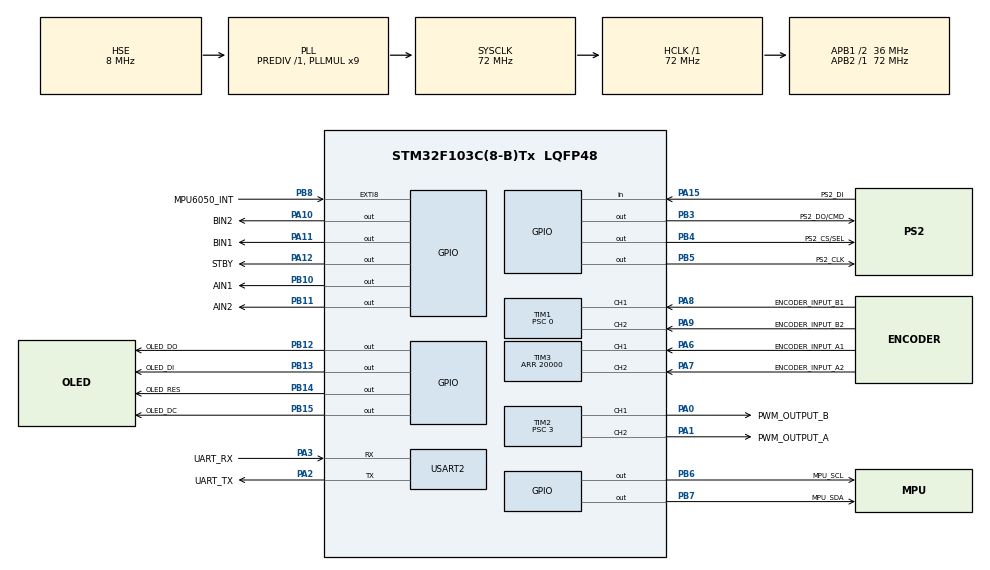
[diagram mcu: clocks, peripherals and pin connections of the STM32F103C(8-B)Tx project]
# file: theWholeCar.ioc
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Mcu.Family=STM32F1
Mcu.Name=STM32F103C(8-B)Tx
Mcu.Package=LQFP48
NVIC.EXTI9_5_IRQn=true\:0\:0\:false\:false\:true\:true\:true\:true
NVIC.PriorityGroup=NVIC_PRIORITYGROUP_4
NVIC.TIM1_UP_IRQn=true\:0\:0\:false\:false\:true\:true\:true\:true
NVIC.TIM3_IRQn=true\:0\:0\:false\:false\:true\:true\:true\:true
NVIC.TIM4_IRQn=true\:1\:0\:true\:false\:true\:true\:true\:true
NVIC.USART2_IRQn=true\:3\:0\:true\:false\:true\:true\:true\:true
PA0-WKUP.GPIO_Label=PWM_OUTPUT_B
PA0-WKUP.Signal=S_TIM2_CH1_ETR
PA1.GPIO_Label=PWM_OUTPUT_A
PA1.Signal=S_TIM2_CH2
PA10.GPIO_Label=BIN2
PA10.Signal=GPIO_Output
PA11.GPIO_Label=BIN1
PA11.Signal=GPIO_Output
PA12.GPIO_Label=STBY
PA12.Signal=GPIO_Output
PA13.Mode=Serial_Wire
PA13.Signal=SYS_JTMS-SWDIO
PA14.Mode=Serial_Wire
PA14.Signal=SYS_JTCK-SWCLK
PA15.GPIO_Label=PS2_DI
PA15.GPIO_PuPd=GPIO_PULLUP
PA15.Signal=GPIO_Input
PA2.GPIO_Label=UART_TX
PA2.Mode=Asynchronous
PA2.Signal=USART2_TX
PA3.GPIO_Label=UART_RX
PA3.Mode=Asynchronous
PA3.Signal=USART2_RX
PA6.GPIO_Label=ENCODER_INPUT_A1
PA6.Signal=S_TIM3_CH1
PA7.GPIO_Label=ENCODER_INPUT_A2
PA7.Signal=S_TIM3_CH2
PA8.GPIO_Label=ENCODER_INPUT_B1
PA8.Signal=S_TIM1_CH1
PA9.GPIO_Label=ENCODER_INPUT_B2
PA9.Signal=S_TIM1_CH2
PB10.GPIO_Label=AIN1
PB10.Signal=GPIO_Output
PB11.GPIO_Label=AIN2
PB11.Signal=GPIO_Output
PB12.GPIO_Label=OLED_DO
PB12.GPIO_Speed=GPIO_SPEED_FREQ_HIGH
PB12.Signal=GPIO_Output
PB13.GPIO_Label=OLED_DI
PB13.GPIO_Speed=GPIO_SPEED_FREQ_HIGH
PB13.Signal=GPIO_Output
PB14.GPIO_Label=OLED_RES
PB14.GPIO_Speed=GPIO_SPEED_FREQ_HIGH
PB14.Signal=GPIO_Output
PB15.GPIO_Label=OLED_DC
PB15.GPIO_Speed=GPIO_SPEED_FREQ_HIGH
PB15.Signal=GPIO_Output
PB3.GPIO_Label=PS2_DO/CMD
PB3.GPIO_PuPd=GPIO_PULLUP
PB3.GPIO_Speed=GPIO_SPEED_FREQ_HIGH
PB3.Signal=GPIO_Output
PB4.GPIO_Label=PS2_CS/SEL
PB4.GPIO_PuPd=GPIO_PULLUP
PB4.GPIO_Speed=GPIO_SPEED_FREQ_HIGH
PB4.Signal=GPIO_Output
PB5.GPIO_Label=PS2_CLK
PB5.GPIO_PuPd=GPIO_PULLUP
PB5.GPIO_Speed=GPIO_SPEED_FREQ_HIGH
PB5.Signal=GPIO_Output
PB6.GPIO_Label=MPU_SCL
PB6.GPIO_ModeDefaultOutputPP=GPIO_MODE_OUTPUT_OD
PB6.GPIO_PuPd=GPIO_PULLUP
PB6.GPIO_Speed=GPIO_SPEED_FREQ_HIGH
PB6.Signal=GPIO_Output
PB7.GPIO_Label=MPU_SDA
PB7.GPIO_ModeDefaultOutputPP=GPIO_MODE_OUTPUT_OD
PB7.GPIO_PuPd=GPIO_PULLUP
PB7.GPIO_Speed=GPIO_SPEED_FREQ_HIGH
PB7.Signal=GPIO_Output
PB8.GPIO_Label=MPU6050_INT
PB8.GPIO_ModeDefaultEXTI=GPIO_MODE_IT_FALLING
PB8.Signal=GPXTI8
PC14-OSC32_IN.Mode=LSE-External-Oscillator
PC14-OSC32_IN.Signal=RCC_OSC32_IN
PC15-OSC32_OUT.Mode=LSE-External-Oscillator
PC15-OSC32_OUT.Signal=RCC_OSC32_OUT
PD0-OSC_IN.Mode=HSE-External-Oscillator
PD0-OSC_IN.Signal=RCC_OSC_IN
PD1-OSC_OUT.Mode=HSE-External-Oscillator
PD1-OSC_OUT.Signal=RCC_OSC_OUT
ProjectManager.HeapSize=0x200
ProjectManager.StackSize=0x400
ProjectManager.TargetToolchain=MDK-ARM V5
RCC.AHBFreq_Value=72000000
RCC.APB1CLKDivider=RCC_HCLK_DIV2
RCC.APB1Freq_Value=36000000
RCC.APB1TimFreq_Value=72000000
RCC.APB2Freq_Value=72000000
RCC.APB2TimFreq_Value=72000000
RCC.HCLKFreq_Value=72000000
RCC.PLLMUL=RCC_PLL_MUL9
RCC.PLLSourceVirtual=RCC_PLLSOURCE_HSE
RCC.SYSCLKFreq_VALUE=72000000
RCC.SYSCLKSource=RCC_SYSCLKSOURCE_PLLCLK
RCC.USBFreq_Value=72000000
SH.S_TIM1_CH1.0=TIM1_CH1,Encoder_Interface
SH.S_TIM1_CH2.0=TIM1_CH2,Encoder_Interface
SH.S_TIM2_CH1_ETR.0=TIM2_CH1,PWM Generation1 CH1
SH.S_TIM2_CH2.0=TIM2_CH2,PWM Generation2 CH2
SH.S_TIM3_CH1.0=TIM3_CH1,Encoder_Interface
SH.S_TIM3_CH2.0=TIM3_CH2,Encoder_Interface
TIM1.EncoderMode=TIM_ENCODERMODE_TI12
TIM1.Period=20000
TIM1.Prescaler=0
TIM2.Channel-PWM\ Generation1\ CH1=TIM_CHANNEL_1
TIM2.Channel-PWM\ Generation2\ CH2=TIM_CHANNEL_2
TIM2.Period=999
TIM2.Prescaler=3
TIM3.Period=20000
TIM4.Period=10000
TIM4.Prescaler=71
USART2.VirtualMode=VM_ASYNC
VP_TIM4_VS_ClockSourceINT.Mode=Internal
board=custom

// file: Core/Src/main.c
/* USER CODE BEGIN Header */
/**
  ******************************************************************************
  * @file           : main.c
  * @brief          : Main program body
  ******************************************************************************
  * @attention
  *
  * Copyright (c) 2023 STMicroelectronics.
  * All rights reserved.
  *
  * This software is licensed under terms that can be found in the LICENSE file
  * in the root directory of this software component.
  * If no LICENSE file comes with this software, it is provided AS-IS.
  *
  ******************************************************************************
  */
/* USER CODE END Header */
#include "main.h"
#include "tim.h"
#include "usart.h"
#include "gpio.h"

/* USER CODE BEGIN Includes */
#include "oled.h"
#include "stdio.h"
#include "math.h"
#include "mpu6050.h"
#include "inv_mpu.h"
#include "motor.h"
#include "string.h"
/* USER CODE END Includes */

/* USER CODE BEGIN PD */
#define RXBUFFERSIZE  256     //最大接收字节数

/* USER CODE END PD */

/* USER CODE BEGIN PV */
char RxBuffer[RXBUFFERSIZE];   //接收数据
uint8_t aRxBuffer;			//接收中断缓冲
uint8_t Uart1_Rx_Cnt = 0;		//接收缓冲计数

float pitch,roll,yaw; 		    //欧拉角
short aacx,aacy,aacz;			//加速度传感器原始数据
short gyrox,gyroy,gyroz;		//陀螺仪原始数据
float temp;					    //温度

float_t Vertical_Kp, Vertical_Kd;//直立环p,d参数
double_t Velocity_Kp, Velocity_Ki;//速度环p,i参数

int16_t ENC_CNTA, ENC_CNTB;
int16_t ENC_CNTA_Last, ENC_CNTB_Last;
int16_t errorA, errorB;

int8_t usart_flag = 0;			//usart中使用的标
/* USER CODE END PV */

void SystemClock_Config(void);
/* USER CODE BEGIN PFP */
int Vertical(float Med,float Angle,float gyro_X);
int Velocity(int Target,int encoder_left,int encoder_right);
/* USER CODE END PFP */

int main(void)
{
  /* USER CODE BEGIN 1 */

	uint8_t flag;
	flag = 0;
	int16_t PWM_out, Velocity_out, Vertical_out;
	Vertical_Kp = 105 * 0.6;	// 	105 * 0.6
	Vertical_Kd = 0.4 * 0.6;		//0.4 * 0.6
	Velocity_Kp = 5500/100000.0;    //    5500/100000.0
	Velocity_Ki = Velocity_Kp / 200;
	ENC_CNTA_Last = ENC_CNTB_Last = 0;
	usart_flag = 0;
  /* USER CODE END 1 */

  /* MCU Configuration--------------------------------------------------------*/

  /* Reset of all peripherals, Initializes the Flash interface and the Systick. */
  HAL_Init();

  /* Configure the system clock */
  SystemClock_Config();

  /* Initialize all configured peripherals */
  MX_GPIO_Init();
  MX_TIM1_Init();
  MX_TIM2_Init();
  MX_TIM3_Init();
  MX_TIM4_Init();
  MX_USART2_UART_Init();
  /* USER CODE BEGIN 2 */
  OLED_Init();
  MPU_Init();			//MPU6050初始化
  mpu_dmp_init();		//dmp初始化
  MOTOR_Init();
  MOTOR_Start();
  HAL_UART_Receive_IT(&huart2, (uint8_t *)&aRxBuffer, 1);
  /* USER CODE END 2 */

  /* Infinite loop */
  while (1)
  {

    /* USER CODE BEGIN 3 */

	/*mpu6050读数*/
	while(mpu_dmp_get_data(&pitch, &roll, &yaw));	//必须要用while等待，才能读取成功
        MPU_Get_Accelerometer(&aacx,&aacy, &aacz);		//得到加速度传感器数据
        MPU_Get_Gyroscope(&gyrox, &gyroy, &gyroz);		//得到陀螺仪数据
//        temp=MPU_Get_Temperature();						//得到温度信息

	  /*显示动画*/
//	  if(fabs(pitch) > 10 && flag != 0) {
//		  flag = 0;
//		  OLED_Clear();
//		  OLED_ShowCHinese(30, 3, 0);
//		  OLED_ShowCHinese(30+16, 3, 1);
//		  OLED_ShowCHinese(30+32, 3, 2);
//		  OLED_ShowCHinese(30+48, 3, 3);
//		  OLED_ShowCHinese(30+64, 3, 4);
//	  }else if (fabs(pitch) < 10 && flag != 1) {
//		  flag = 1;
//		  OLED_Clear();
//		  OLED_ShowCHinese(40, 3, 6);
//		  OLED_ShowCHinese(40+16, 3, 7);
//		  OLED_ShowCHinese(40+32, 3, 8);
//	  }

	Velocity_out=Velocity(0, errorA, errorB);	//速度环
	PWM_out = Vertical(Velocity_out + 0, pitch, gyroy);// 直立环
	if (fabs(PWM_out) > 1000) PWM_out = 1000 * (PWM_out > 0 ? 1 : -1);
	if (PWM_out < 0) {
		MOTOR_ControlA(1, -PWM_out * 1.25);
		MOTOR_ControlB(1, -PWM_out);
	}else {
		MOTOR_ControlA(0, PWM_out * 1.25);
		MOTOR_ControlB(0, PWM_out);
	}

	OLED_ShowSighedNum(8, 0, (int32_t) errorA, 5, 16);
	OLED_ShowSighedNum(69, 0, (int32_t) errorB, 5, 16);
	OLED_ShowSighedNum(8, 2, (int32_t) Vertical_Kp, 5, 16);
	OLED_ShowSighedNum(69, 2, (int32_t) (Vertical_Kd * 10), 5, 16);
	OLED_ShowSighedNum(8, 4, (int32_t) (Velocity_Kp * 100000), 5, 16);
	OLED_ShowSighedNum(69, 4, (int32_t) (Velocity_Ki * 10000000), 5, 16);
	OLED_ShowSighedNum(8, 6, (int32_t) PWM_out, 5, 16);
	OLED_ShowSighedNum(69, 6, (int32_t) pitch, 5, 16);

  }
  /* USER CODE END 3 */
}

void SystemClock_Config(void)
{
  RCC_OscInitTypeDef RCC_OscInitStruct = {0};
  RCC_ClkInitTypeDef RCC_ClkInitStruct = {0};

  /** Initializes the RCC Oscillators according to the specified parameters
  * in the RCC_OscInitTypeDef structure.
  */
  RCC_OscInitStruct.OscillatorType = RCC_OSCILLATORTYPE_HSE;
  RCC_OscInitStruct.HSEState = RCC_HSE_ON;
  RCC_OscInitStruct.HSEPredivValue = RCC_HSE_PREDIV_DIV1;
  RCC_OscInitStruct.HSIState = RCC_HSI_ON;
  RCC_OscInitStruct.PLL.PLLState = RCC_PLL_ON;
  RCC_OscInitStruct.PLL.PLLSource = RCC_PLLSOURCE_HSE;
  RCC_OscInitStruct.PLL.PLLMUL = RCC_PLL_MUL9;
  if (HAL_RCC_OscConfig(&RCC_OscInitStruct) != HAL_OK)
  {
    Error_Handler();
  }

  /** Initializes the CPU, AHB and APB buses clocks
  */
  RCC_ClkInitStruct.ClockType = RCC_CLOCKTYPE_HCLK|RCC_CLOCKTYPE_SYSCLK
                              |RCC_CLOCKTYPE_PCLK1|RCC_CLOCKTYPE_PCLK2;
  RCC_ClkInitStruct.SYSCLKSource = RCC_SYSCLKSOURCE_PLLCLK;
  RCC_ClkInitStruct.AHBCLKDivider = RCC_SYSCLK_DIV1;
  RCC_ClkInitStruct.APB1CLKDivider = RCC_HCLK_DIV2;
  RCC_ClkInitStruct.APB2CLKDivider = RCC_HCLK_DIV1;

  if (HAL_RCC_ClockConfig(&RCC_ClkInitStruct, FLASH_LATENCY_2) != HAL_OK)
  {
    Error_Handler();
  }
}

/* USER CODE BEGIN 4 */

/*********************
直立环PD控制器：Kp*Ek+Kd*Ek_D

入口：期望角度、真实角度、真实角速度
出口：直立环输出
*********************/
int Vertical(float Med,float Angle,float gyro_X)
{
	int PWM_out;

	PWM_out=Vertical_Kp*(Angle-Med)+Vertical_Kd*(gyro_X-0);
	return PWM_out;
}

/*********************
速度环PI：Kp*Ek+Ki*Ek_S
*********************/
int Velocity(int Target,int encoder_left,int encoder_right)
{
	static int Encoder_S,EnC_Err_Lowout_last,PWM_out,Encoder_Err,EnC_Err_Lowout;
	float a=0.7;

	//1.计算速度偏差
	Encoder_Err=((encoder_left+encoder_right)-Target);//舍去误差--我的理解：能够让速度为"0"的角度，就是机械中值。
	//2.对速度偏差进行低通滤波
	//low_out=(1-a)*Ek+a*low_out_last;
	EnC_Err_Lowout=(1-a)*Encoder_Err+a*EnC_Err_Lowout_last;//使得波形更加平滑，滤除高频干扰，防止速度突变。
	EnC_Err_Lowout_last=EnC_Err_Lowout;//防止速度过大的影响直立环的正常工作。
	//3.对速度偏差积分，积分出位移
	Encoder_S+=EnC_Err_Lowout;
	//4.积分限幅
	Encoder_S=Encoder_S>10000?10000:(Encoder_S<(-10000)?(-10000):Encoder_S);

	//5.速度环控制输出计算
	PWM_out=Velocity_Kp*EnC_Err_Lowout+Velocity_Ki*Encoder_S;
	return PWM_out;
}

/*串口中断回调函数*/
void HAL_UART_RxCpltCallback(UART_HandleTypeDef *huart)
{
	UNUSED(huart);

	if(Uart1_Rx_Cnt >= 255)  //溢出判断
	{
		Uart1_Rx_Cnt = 0;
		memset(RxBuffer,0x00,sizeof(RxBuffer));
		HAL_UART_Transmit(&huart2, (uint8_t *)"数据溢出", 10,0xFFFF);

	}
	else
	{
		RxBuffer[Uart1_Rx_Cnt++] = aRxBuffer;   //接收数据转存
		if((Uart1_Rx_Cnt >= 2) && (RxBuffer[Uart1_Rx_Cnt-1] == 0x0A)&&(RxBuffer[Uart1_Rx_Cnt-2] == 0x0D)) //判断结束位
		{
			Uart1_Rx_Cnt = 0;
			memset(RxBuffer,0x00,sizeof(RxBuffer));
			if (usart_flag == 1) {
				Velocity_Kp /= 100000.0;
//				Velocity_Kp = -Velocity_Kp;
				Velocity_Ki = Velocity_Kp / 200.0;
			}
			if (usart_flag == 2) {
				Vertical_Kd /= 10.0;
			}
			usart_flag = 0;
		}else if (usart_flag == 0 && strcmp(RxBuffer, "kp") == 0) {
			usart_flag = 1;
			Velocity_Kp = 0;
//			Vertical_Kp = 0;
		}else if (usart_flag == 1 && aRxBuffer >= '0' && aRxBuffer <= '9') {
//			Vertical_Kp = 10 * Vertical_Kp + aRxBuffer - '0';
			Velocity_Kp = 10 * Velocity_Kp + aRxBuffer - '0';
		}
		else if (usart_flag == 0 && strcmp(RxBuffer, "kd") == 0) {
			usart_flag = 2;
			Vertical_Kd = 0;
		}else if (usart_flag == 2 && aRxBuffer >= '0' && aRxBuffer <= '9') {
			Vertical_Kd = 10 * Vertical_Kd + aRxBuffer - '0';
		}

	}

	HAL_UART_Receive_IT(&huart2, (uint8_t *)&aRxBuffer, 1);   //再开启接收中断
}

/*编码器中断回调函数*/
void HAL_TIM_PeriodElapsedCallback(TIM_HandleTypeDef *htim)
{
  if(htim->Instance==BASEIT.Instance)		              //10ms中断
	{
//		printf("1\n");
		ENC_CNTA = COUNTERNUMA - RELOADVALUEA/2;
		ENC_CNTB = COUNTERNUMB - RELOADVALUEB/2;
		errorA = ENC_CNTA - ENC_CNTA_Last;
		errorB = ENC_CNTB - ENC_CNTB_Last;
		ENC_CNTA_Last = ENC_CNTA;
		ENC_CNTB_Last = ENC_CNTB;
	}

    //如果是编码器更新中断,即10ms内,脉冲数超过了计数范围,需要进行处理
	else if(htim->Instance == ENCODERA.Instance)
	{
		if(COUNTERNUMA < 10000)	motorA.loopNum++;         //向上计数超过10000，正溢出+1
		else if(COUNTERNUMA > 10000)	motorA.loopNum--;     //向下计数小于0，负溢出+1
		__HAL_TIM_SetCounter(&ENCODERA, 10000);             //重新设定初始值
	}

	else if(htim->Instance == ENCODERB.Instance)
	{
		if(COUNTERNUMB < 10000)	motorB.loopNum++;         //向上计数超过10000，正溢出+1
		else if(COUNTERNUMB > 10000)	motorB.loopNum--;     //向下计数小于0，负溢出+1
		__HAL_TIM_SetCounter(&ENCODERB, 10000);             //重新设定初始值
	}
}

/*外部中断回调函数*/
void HAL_GPIO_EXTI_Callback(uint16_t GPIO_Pin)
{
	;
}
/* USER CODE END 4 */

void Error_Handler(void)
{
  __disable_irq();
  while (1)
  {
  }
}
